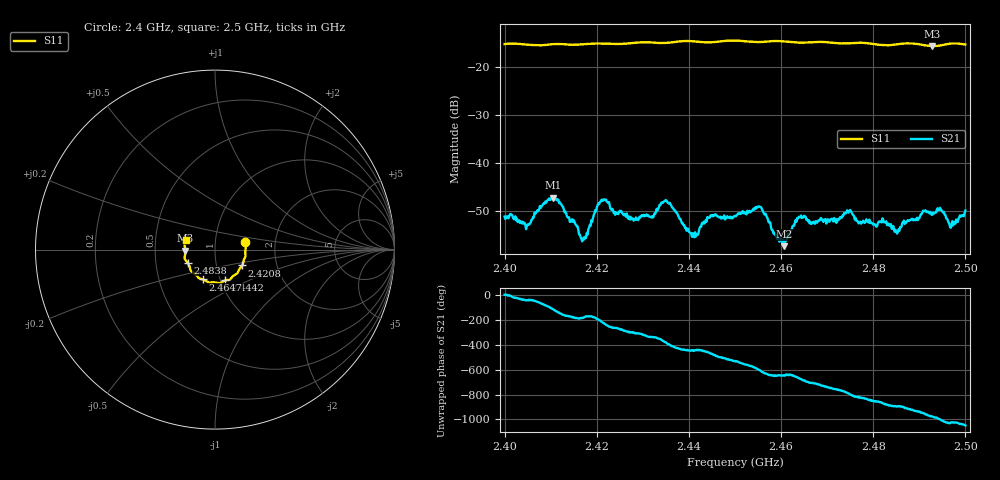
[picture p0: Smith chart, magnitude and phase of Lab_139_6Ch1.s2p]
# Hz S RI R 50
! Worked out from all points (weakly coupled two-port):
!   601 points, 2.4 GHz to 2.5 GHz, reference 50 ohm
!   highest |S21| = -47.20 dB at 2.4105 GHz (marker M1); lowest = -57.3 dB at 2.4607 GHz (marker M2)
!   lowest |S11| = -15.6 dB at 2.4928 GHz (marker M3), VSWR 1.40, Z = 35.8 - j0.418 ohm
!   |S11| at or under -10 dB: start of sweep to end of sweep
!   S12 and S22 are empty: the file has one direction only
!   S11 on the Smith chart (normalised r, x): 2.4 GHz: 1.40, +0.12; 2.4208 GHz: 1.33, -0.24; 2.4442 GHz: 1.05, -0.37; 2.4647 GHz: 0.83, -0.29; 2.4838 GHz: 0.73, -0.11; 2.5 GHz: 0.71, +0.07
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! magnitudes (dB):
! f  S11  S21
! 2.4 GHz  -15.2  -51.1
! 2.405 GHz  -15.4  -52.9
! 2.4105 GHz  -15.2  -47.2
! 2.4167 GHz  -15.3  -55.8
! 2.4208 GHz  -15.1  -48.0
! 2.4285 GHz  -14.9  -51.3
! 2.4333 GHz  -15.0  -49.5
! 2.4355 GHz  -14.9  -48.3
! 2.441 GHz  -14.6  -55.3
! 2.4442 GHz  -14.9  -51.3
! 2.45 GHz  -14.5  -51.0
! 2.4553 GHz  -14.8  -49.1
! 2.4607 GHz  -14.7  -57.3
! 2.4647 GHz  -14.9  -51.2
! 2.4667 GHz  -14.8  -52.6
! 2.4748 GHz  -15.0  -49.9
! 2.4833 GHz  -15.5  -52.6
! 2.4838 GHz  -15.4  -52.7
! 2.4928 GHz  -15.6  -50.7
! 2.4948 GHz  -15.5  -49.8
! 2.4968 GHz  -15.1  -53.4
! 2.5 GHz  -15.3  -49.9
